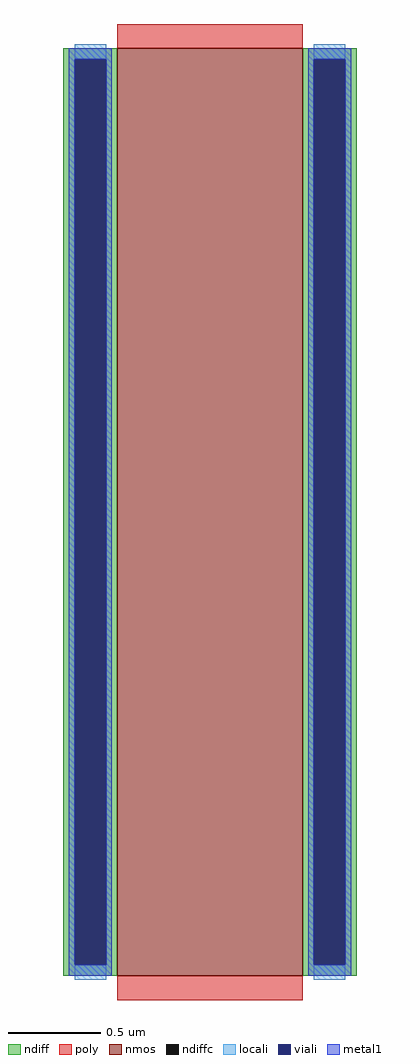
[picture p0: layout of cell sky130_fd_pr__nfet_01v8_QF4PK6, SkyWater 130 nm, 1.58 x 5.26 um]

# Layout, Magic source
magic
tech sky130A
<< nmos >>
rect -50 -250 50 250
<< ndiff >>
rect -79 244 -50 250
rect -79 -244 -73 244
rect -56 -244 -50 244
rect -79 -250 -50 -244
rect 50 244 79 250
rect 50 -244 56 244
rect 73 -244 79 244
rect 50 -250 79 -244
<< ndiffc >>
rect -73 -244 -56 244
rect 56 -244 73 244
<< poly >>
rect -50 250 50 263
rect -50 -263 50 -250
<< locali >>
rect -73 244 -56 252
rect -73 -252 -56 -244
rect 56 244 73 252
rect 56 -252 73 -244
<< viali >>
rect -73 -244 -56 244
rect 56 -244 73 244
<< metal1 >>
rect -76 244 -53 250
rect -76 -244 -73 244
rect -56 -244 -53 244
rect -76 -250 -53 -244
rect 53 244 76 250
rect 53 -244 56 244
rect 73 -244 76 244
rect 53 -250 76 -244
<< properties >>
string gencell sky130_fd_pr__nfet_01v8
string library sky130
string parameters w 5 l 1 m 1 nf 1 diffcov 100 polycov 100 guard 0 glc 0 grc 0 gtc 0 gbc 0 tbcov 100 rlcov 100 topc 0 botc 0 poverlap 0 doverlap 0 lmin 0.15 wmin 0.42 compatible {sky130_fd_pr__nfet_01v8 sky130_fd_pr__nfet_01v8_lvt  sky130_fd_bs_flash__special_sonosfet_star  sky130_fd_pr__nfet_g5v0d10v5 sky130_fd_pr__nfet_05v0_nvt  sky130_fd_pr__nfet_03v3_nvt} full_metal 0 viasrc 100 viadrn 100 viagate 100 viagb 0 viagr 0 viagl 0 viagt 0
<< end >>
